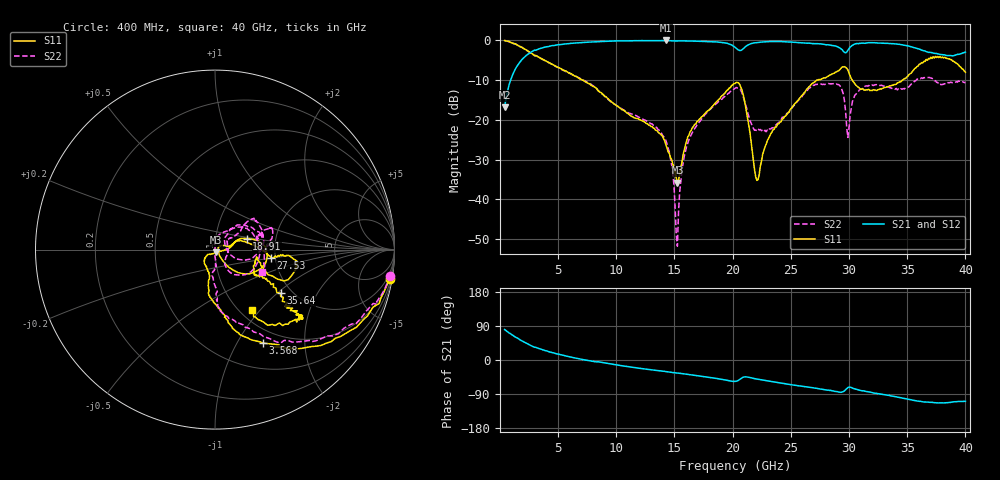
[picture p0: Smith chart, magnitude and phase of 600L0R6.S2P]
!  American Technical Ceramics  Date:  10/26/00
!  One Norden Lane
!  Huntington Station,  NY.  11746-2102
!  Tel:  (631) 622-4700  Fax:  (631) 622-4748
!  Part Number  600L0R6B  Mounting Orientation:  Horizontal
!  Description:  Low ESR, High Q Microwave capacitors
!  Application: Coupling, Bypass, Tuning, DC Block
!  Filters, Matching
# GHZ S DB R 50
! Freq  |S11|  S11 Ph  |S21|  S21 Ph  |S12|  S12 Ph  |S22|  S22 Ph
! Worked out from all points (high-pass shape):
!   401 points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, 400 MHz to 40 GHz, reference 50 ohm
!   highest |S21| = -0.11 dB at 14.26 GHz (marker M1); lowest = -16.8 dB at 400 MHz (marker M2)
!   |S21| within 3 dB of the highest: 2.632 GHz to 29.64 GHz (27.01 GHz wide, 167 % of centre); 29.75 GHz to 36.99 GHz (7.239 GHz wide, 21.7 % of centre)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
!   lowest |S11| = -35.8 dB at 15.25 GHz (marker M3), VSWR 1.03, Z = 50.3 - j1.59 ohm
!   |S11| at or under -10 dB: 7.033 GHz to 27.36 GHz (20.33 GHz wide, 118 % of centre); 30.26 GHz to 34.64 GHz (4.383 GHz wide, 13.5 % of centre)
!   |S22| runs from -51.8 to -0.1 dB; largest |S21 - S12| = 0.013
!   S11 on the Smith chart (normalised r, x): 400 MHz: 1, -12; 3.568 GHz: 0.81, -1.29; 18.91 GHz: 1.42, +0.18; 27.53 GHz: 1.90, -0.20; 35.64 GHz: 1.74, -1.05; 40 GHz: 1.13, -0.90
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0.4  -0.11 -9.4  -16.84 80.3  -16.85 80.3  -0.10 -8.6
1.588  -1.41 -34.7  -6.05 56.2  -6.10 55.5  -1.50 -31.4
3.568  -4.67 -62.9  -2.04 28.3  -2.02 27.9  -4.71 -58.5
7.033  -10.00 -87.5  -0.64 1.8  -0.60 2.1  -9.80 -86.4
13.666  -23.36 -140.2  -0.18 -28.3  -0.17 -28.4  -22.60 -88.2
14.26  -26.27 -145.9  -0.11 -30.6  -0.12 -30.4  -25.25 -86.5
15.25  -35.81 -77.2  -0.23 -34.2  -0.23 -34.0  -51.76 64.9
16.24  -23.89 0.4  -0.24 -38.4  -0.23 -38.3  -24.98 89.0
18.913  -14.59 19.0  -0.54 -50.2  -0.56 -50.0  -15.18 45.9
20.2  -10.92 -1.2  -1.82 -56.5  -1.79 -56.3  -12.13 7.1
20.893  -13.59 -40.1  -2.22 -45.5  -2.25 -45.4  -14.13 -46.3
22.081  -35.24 -0.6  -0.65 -50.4  -0.65 -50.2  -22.77 -22.2
23.269  -23.54 16.5  -0.37 -56.5  -0.37 -56.4  -22.34 27.0
26.833  -10.91 -3.1  -0.89 -73.0  -0.81 -72.9  -11.67 39.9
27.526  -9.99 -8.6  -0.96 -76.7  -1.02 -76.8  -11.02 36.9
29.209  -7.42 -5.5  -1.98 -84.9  -1.99 -84.5  -11.46 5.0
29.902  -7.50 -24.4  -2.57 -72.8  -2.59 -72.5  -24.45 19.9
30.892  -12.12 -13.7  -0.83 -79.8  -0.81 -79.5  -12.51 32.1
33.466  -11.51 -31.5  -0.88 -93.6  -0.88 -93.4  -11.92 16.9
35.644  -7.15 -33.8  -1.94 -107.0  -1.90 -106.8  -10.30 21.5
37.822  -4.11 -38.5  -3.61 -113.0  -3.55 -112.7  -11.12 -3.9
40  -8.07 -58.9  -3.03 -109.1  -3.03 -108.9  -10.71 -25.0
